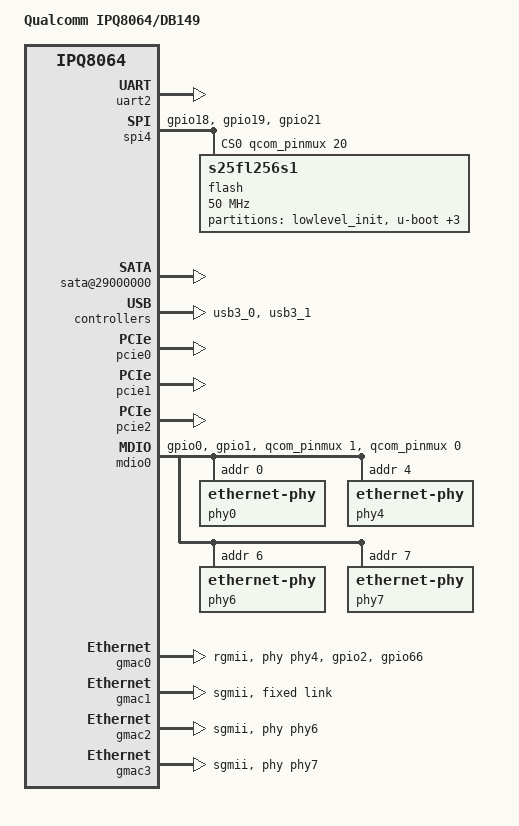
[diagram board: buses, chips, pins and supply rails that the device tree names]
#include "qcom-ipq8064-v1.0.dtsi"

/ {
	model = "Qualcomm IPQ8064/DB149";
	compatible = "qcom,ipq8064-db149", "qcom,ipq8064";

	reserved-memory {
		#address-cells = <1>;
		#size-cells = <1>;
		ranges;
		rsvd@41200000 {
			reg = <0x41200000 0x300000>;
			no-map;
		};
	};

	alias {
		serial0 = &uart2;
		mdio-gpio0 = &mdio0;
	};

	chosen {
		stdout-path = "serial0:115200n8";
	};

	soc {
		pinmux@800000 {
			i2c4_pins: i2c4_pinmux {
				pins = "gpio12", "gpio13";
				function = "gsbi4";
				bias-disable;
			};

			spi_pins: spi_pins {
				mux {
					pins = "gpio18", "gpio19", "gpio21";
					function = "gsbi5";
					drive-strength = <10>;
					bias-none;
				};
			};

			mdio0_pins: mdio0_pins {
				mux {
					pins = "gpio0", "gpio1";
					function = "gpio";
					drive-strength = <8>;
					bias-disable;
				};
			};

			rgmii0_pins: rgmii0_pins {
				mux {
					pins = "gpio2", "gpio66";
					drive-strength = <8>;
					bias-disable;
				};
			};
		};

		gsbi2: gsbi@12480000 {
			qcom,mode = <GSBI_PROT_I2C_UART>;
			status = "okay";
			uart2: serial@12490000 {
				status = "okay";
			};
		};

		gsbi5: gsbi@1a200000 {
			qcom,mode = <GSBI_PROT_SPI>;
			status = "okay";

			spi4: spi@1a280000 {
				status = "okay";
				spi-max-frequency = <50000000>;

				pinctrl-0 = <&spi_pins>;
				pinctrl-names = "default";

				cs-gpios = <&qcom_pinmux 20 0>;

				flash: m25p80@0 {
					compatible = "s25fl256s1";
					#address-cells = <1>;
					#size-cells = <1>;
					spi-max-frequency = <50000000>;
					reg = <0>;
					m25p,fast-read;

					partition@0 {
						label = "lowlevel_init";
						reg = <0x0 0x1b0000>;
					};

					partition@1 {
						label = "u-boot";
						reg = <0x1b0000 0x80000>;
					};

					partition@2 {
						label = "u-boot-env";
						reg = <0x230000 0x40000>;
					};

					partition@3 {
						label = "caldata";
						reg = <0x270000 0x40000>;
					};

					partition@4 {
						label = "firmware";
						reg = <0x2b0000 0x1d50000>;
					};
				};
			};
		};

		sata-phy@1b400000 {
			status = "okay";
		};

		sata@29000000 {
			status = "okay";
		};

		usb3_0: usb3@110f8800 {
			status = "okay";
		};

		usb3_1: usb3@100f8800 {
			status = "okay";
		};

		pcie0: pci@1b500000 {
			status = "okay";
		};

		pcie1: pci@1b700000 {
			status = "okay";
		};

		pcie2: pci@1b900000 {
			status = "okay";
		};

		mdio0: mdio {
			compatible = "virtual,mdio-gpio";
			#address-cells = <1>;
			#size-cells = <0>;
			gpios = <&qcom_pinmux 1 0 &qcom_pinmux 0 0>;

			pinctrl-0 = <&mdio0_pins>;
			pinctrl-names = "default";

			phy0: ethernet-phy@0 {
				reg = <0>;
				qca,ar8327-initvals = <
					0x00004 0x7600000   /* PAD0_MODE */
					0x00008 0x1000000   /* PAD5_MODE */
					0x0000c 0x80        /* PAD6_MODE */
					0x000e4 0x6a545     /* MAC_POWER_SEL */
					0x000e0 0xc74164de  /* SGMII_CTRL */
					0x0007c 0x4e        /* PORT0_STATUS */
					0x00094 0x4e        /* PORT6_STATUS */
				>;
			};

			phy4: ethernet-phy@4 {
				reg = <4>;
			};

			phy6: ethernet-phy@6 {
				reg = <6>;
			};

			phy7: ethernet-phy@7 {
				reg = <7>;
			};
		};

		gmac0: ethernet@37000000 {
			status = "okay";
			phy-mode = "rgmii";
			qcom,id = <0>;
			phy-handle = <&phy4>;

			pinctrl-0 = <&rgmii0_pins>;
			pinctrl-names = "default";
		};

		gmac1: ethernet@37200000 {
			status = "okay";
			phy-mode = "sgmii";
			qcom,id = <1>;

			fixed-link {
				speed = <1000>;
				full-duplex;
			};
		};

		gmac2: ethernet@37400000 {
			status = "okay";
			phy-mode = "sgmii";
			qcom,id = <2>;
			phy-handle = <&phy6>;
		};

		gmac3: ethernet@37600000 {
			status = "okay";
			phy-mode = "sgmii";
			qcom,id = <3>;
			phy-handle = <&phy7>;
		};
	};
};
